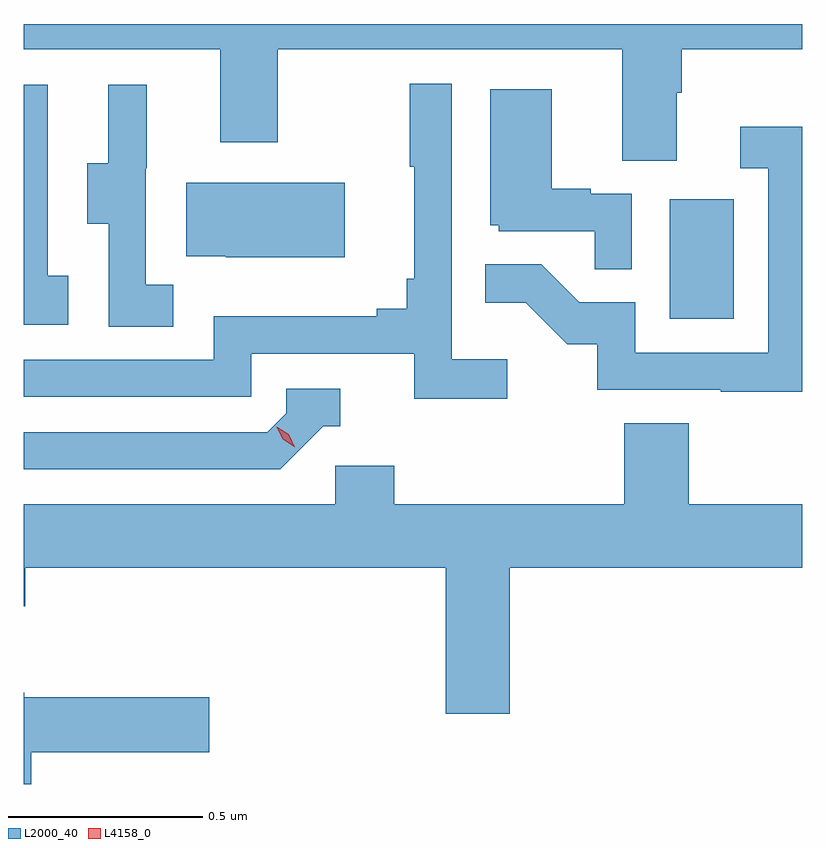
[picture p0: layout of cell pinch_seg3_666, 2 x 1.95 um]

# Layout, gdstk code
import gdstk
lib = gdstk.Library(unit=1e-6, precision=1e-09)
def R(c, l, rs):  # rectangles x0, y0, x1, y1
    for r in rs: c.add(gdstk.rectangle(r[:2], r[2:], *l))
def P(c, l, *ps):  # polygons
    for p in ps: c.add(gdstk.Polygon(p, *l))
L2000_40 = (2000, 40)
L4158_0 = (4158, 0)

pinch_seg3_666 = lib.new_cell('pinch_seg3_666')
R(pinch_seg3_666, L2000_40, [(1064.684,680.244,1064.848,680.551)])
P(pinch_seg3_666, L2000_40, [(1064.701,680.824),(1064.714,680.824),(1064.714,680.936),(1065.024,680.936),(1065.024,681.001),(1063.024,681.001),(1063.024,680.936),(1063.529,680.936),(1063.529,680.697),(1063.677,680.697),(1063.677,680.936),(1064.561,680.936),(1064.561,680.65),(1064.701,680.65)],
  [(1064.266,680.14),(1064.124,680.14),(1064.124,680.848),(1064.016,680.848),(1064.016,680.635),(1064.027,680.635),(1064.027,680.347),(1064.008,680.347),(1064.008,680.27),(1063.931,680.27),(1063.931,680.251),(1063.512,680.251),(1063.512,680.139),(1063.024,680.139),(1063.024,680.043),(1063.608,680.043),(1063.608,680.154),(1064.027,680.154),(1064.027,680.038),(1064.266,680.038)],
  [(1063.138,680.354),(1063.086,680.354),(1063.086,680.845),(1063.024,680.845),(1063.024,680.229),(1063.138,680.229)],
  [(1063.408,680.331),(1063.338,680.331),(1063.338,680.631),(1063.34,680.631),(1063.34,680.845),(1063.241,680.845),(1063.241,680.643),(1063.187,680.643),(1063.187,680.488),(1063.242,680.488),(1063.242,680.224),(1063.408,680.224)],
  [(1064.586,680.565),(1064.48,680.565),(1064.48,680.578),(1064.38,680.578),(1064.38,680.833),(1064.222,680.833),(1064.222,680.484),(1064.244,680.484),(1064.244,680.469),(1064.491,680.469),(1064.491,680.371),(1064.586,680.371)],
  [(1065.024,680.737),(1064.865,680.737),(1064.865,680.631),(1064.937,680.631),(1064.937,680.157),(1064.595,680.157),(1064.595,680.286),(1064.451,680.286),(1064.353,680.384),(1064.209,680.384),(1064.209,680.285),(1064.313,680.285),(1064.42,680.178),(1064.497,680.178),(1064.497,680.061),(1064.815,680.061),(1064.815,680.056),(1065.024,680.056)],
  [(1063.849,680.593),(1063.441,680.593),(1063.441,680.405),(1063.543,680.405),(1063.543,680.402),(1063.849,680.402)],
  [(1063.794,679.968),(1063.837,679.968),(1063.837,680.064),(1063.698,680.064),(1063.698,680.001),(1063.65,679.953),(1063.024,679.953),(1063.024,679.857),(1063.683,679.857)],
  [(1064.272,679.604),(1065.024,679.604),(1065.024,679.768),(1064.732,679.768),(1064.732,679.976),(1064.567,679.976),(1064.567,679.768),(1063.976,679.768),(1063.976,679.866),(1063.824,679.866),(1063.824,679.768),(1063.024,679.768),(1063.024,679.505),(1063.028,679.505),(1063.028,679.604),(1064.108,679.604),(1064.108,679.23),(1064.272,679.23)],
  [(1063.043,679.13),(1063.501,679.13),(1063.501,679.272),(1063.026,679.272),(1063.026,679.284),(1063.024,679.284),(1063.024,679.049),(1063.043,679.049)])
P(pinch_seg3_666, L4158_0, [(1063.72,679.914),(1063.689,679.934),(1063.674,679.967),(1063.674,679.967),(1063.674,679.967),(1063.705,679.947),(1063.72,679.914),(1063.72,679.914)])

lib.write_gds('pinch_seg3_666.gds')
